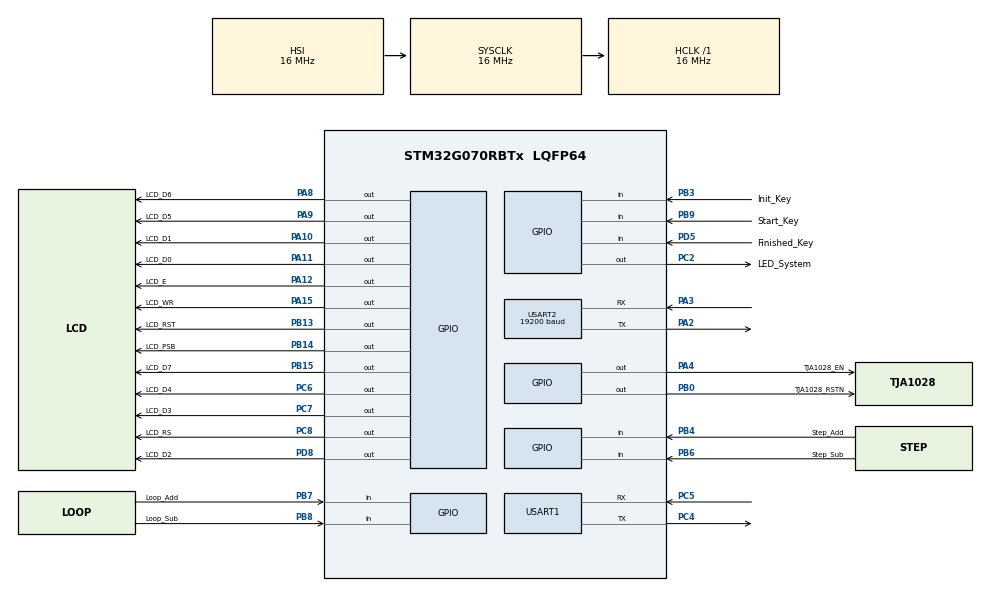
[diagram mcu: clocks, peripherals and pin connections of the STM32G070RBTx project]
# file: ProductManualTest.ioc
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Mcu.Family=STM32G0
Mcu.Name=STM32G070RBTx
Mcu.Package=LQFP64
NVIC.USART2_IRQn=true\:0\:0\:false\:false\:true\:true\:true\:true
PA10.GPIO_Label=LCD_D1
PA10.Signal=GPIO_Output
PA11\ [PA9].GPIO_Label=LCD_D0
PA11\ [PA9].Signal=GPIO_Output
PA12\ [PA10].GPIO_Label=LCD_E
PA12\ [PA10].Signal=GPIO_Output
PA13.Mode=Serial_Wire
PA13.Signal=SYS_SWDIO
PA14-BOOT0.Mode=Serial_Wire
PA14-BOOT0.Signal=SYS_SWCLK
PA15.GPIO_Label=LCD_WR
PA15.Signal=GPIO_Output
PA2.Mode=LIN
PA2.Signal=USART2_TX
PA3.Mode=LIN
PA3.Signal=USART2_RX
PA4.GPIO_Label=TJA1028_EN
PA4.Signal=GPIO_Output
PA8.GPIO_Label=LCD_D6
PA8.Signal=GPIO_Output
PA9.GPIO_Label=LCD_D5
PA9.Signal=GPIO_Output
PB0.GPIO_Label=TJA1028_RSTN
PB0.Signal=GPIO_Output
PB13.GPIO_Label=LCD_RST
PB13.Signal=GPIO_Output
PB14.GPIO_Label=LCD_PSB
PB14.Signal=GPIO_Output
PB15.GPIO_Label=LCD_D7
PB15.Signal=GPIO_Output
PB3.GPIO_Label=Init_Key
PB3.Signal=GPIO_Input
PB4.GPIO_Label=Step_Add
PB4.Signal=GPIO_Input
PB6.GPIO_Label=Step_Sub
PB6.Signal=GPIO_Input
PB7.GPIO_Label=Loop_Add
PB7.Signal=GPIO_Input
PB8.GPIO_Label=Loop_Sub
PB8.Signal=GPIO_Input
PB9.GPIO_Label=Start_Key
PB9.Signal=GPIO_Input
PC2.GPIO_Label=LED_System
PC2.Signal=GPIO_Output
PC4.Mode=Asynchronous
PC4.Signal=USART1_TX
PC5.Mode=Asynchronous
PC5.Signal=USART1_RX
PC6.GPIO_Label=LCD_D4
PC6.Signal=GPIO_Output
PC7.GPIO_Label=LCD_D3
PC7.Signal=GPIO_Output
PC8.GPIO_Label=LCD_RS
PC8.Signal=GPIO_Output
PD5.GPIO_Label=Finished_Key
PD5.Signal=GPIO_Input
PD8.GPIO_Label=LCD_D2
PD8.Signal=GPIO_Output
ProjectManager.HeapSize=0x200
ProjectManager.StackSize=0x400
ProjectManager.TargetToolchain=STM32CubeIDE
RCC.AHBFreq_Value=16000000
RCC.CortexFreq_Value=16000000
RCC.EXTERNAL_CLOCK_VALUE=48000
RCC.HCLKFreq_Value=16000000
RCC.HSE_VALUE=8000000
RCC.HSI_VALUE=16000000
RCC.LSE_VALUE=32768
RCC.SYSCLKFreq_VALUE=16000000
RCC.VCOOutputFreq_Value=128000000
USART1.VirtualMode-Asynchronous=VM_ASYNC
USART2.BaudRate=19200
USART2.VirtualMode-LIN=VM_LIN
VP_SYS_VS_DBSignals.Mode=DisableDeadBatterySignals
board=custom

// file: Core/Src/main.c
/* USER CODE BEGIN Header */
/**
  ******************************************************************************
  * @file           : main.c
  * @brief          : Main program body
  ******************************************************************************
  * @attention
  *
  * Copyright (c) 2023 STMicroelectronics.
  * All rights reserved.
  *
  * This software is licensed under terms that can be found in the LICENSE file
  * in the root directory of this software component.
  * If no LICENSE file comes with this software, it is provided AS-IS.
  *
  ******************************************************************************
  */
/* USER CODE END Header */
#include "main.h"
#include "usart.h"
#include "gpio.h"

/* USER CODE BEGIN Includes */
#include "key.h"
#include "LIN.h"
#include "12864.h"
/* USER CODE END Includes */

/* USER CODE BEGIN PV */
//uint8_t test_step = 0;
//uint16_t test_cycle = 0;
//uint8_t test_current_step = 0;
//uint16_t test_error = 900;
uint8_t RevByte = 0;
uint8_t pRevByte = 0;
uint8_t RxFlag = 0;
uint8_t RxLength = 0;
/* USER CODE END PV */

void SystemClock_Config(void);

int main(void)
{

  /* MCU Configuration--------------------------------------------------------*/

  /* Reset of all peripherals, Initializes the Flash interface and the Systick. */
  HAL_Init();

  /* Configure the system clock */
  SystemClock_Config();

  /* USER CODE BEGIN SysInit */
    //解决断电后重新上电，程序运行异常的问题
    //原因：在程序刚开始时加上一个延时，因为外设上电时间不够，所以加个延时，等待外设上电，再进行初始化
    HAL_Delay(700);
  /* USER CODE END SysInit */

  /* Initialize all configured peripherals */
  MX_GPIO_Init();
  MX_USART2_UART_Init();
  MX_USART1_UART_Init();
  /* USER CODE BEGIN 2 */
  //一定要先清除串口空闲中断，然后在打开串口空闲中断，因为串口初始化完成后会自动将IDLE置位，
  // 导致还没有接受数据就进入到中断里面去了，所以打开IDLE之前，先把它清楚掉
  //清除串口空闲中断
  __HAL_UART_CLEAR_IDLEFLAG(&huart2);
  //打开串口空闲中断
  __HAL_UART_ENABLE_IT(&huart2,UART_IT_IDLE);
  //开启中断接收
  Util_Receive_IT(&huart2);
  //使能系统运行指示灯
  HAL_GPIO_WritePin(LED_System_GPIO_Port,LED_System_Pin,GPIO_PIN_SET);
  //使能TJA1028LIN芯片的EN
  HAL_GPIO_WritePin(TJA1028_EN_GPIO_Port,TJA1028_EN_Pin,GPIO_PIN_SET);
  //使能TJA1028LIN芯片的RSTN
  HAL_GPIO_WritePin(TJA1028_RSTN_GPIO_Port,TJA1028_RSTN_Pin,GPIO_PIN_SET);
  LCDInit();

  //测试
//  currentStepSize = 480;
//  currentCycleCount = 300;
//  Data_To_LIN(currentStepSize,currentCycleCount,0);
  //测试

  /* USER CODE END 2 */

  /* Infinite loop */
  while (1)
  {

    //检测加减按键
    Operation_Key_Scan(Step_Add_GPIO_Port,Step_Add_Pin,1,STEP_DIGITAL);
    Operation_Key_Scan(Step_Sub_GPIO_Port,Step_Sub_Pin,0,STEP_DIGITAL);
    Operation_Key_Scan(Loop_Add_GPIO_Port,Loop_Add_Pin,1,LOOP_DIGITAL);
    Operation_Key_Scan(Loop_Sub_GPIO_Port,Loop_Sub_Pin,0,LOOP_DIGITAL);
    //检测初始化按钮
    if (General_Key_Scan(Init_Key_GPIO_Port,Init_Key_Pin))
    {
        Data_To_LIN(0,0,1);
    }
    //检测开始按钮
    if (General_Key_Scan(Start_Key_GPIO_Port,Start_Key_Pin))
    {
        if (currentCycleCount == 61000)
        {
            InfiniteLoop = 1;
        }
        else
        {
            InfiniteLoop = 0;
        }
        Data_To_LIN(currentStepSize,currentCycleCount,0);
    }
    //检测结束按钮
    if (General_Key_Scan(Finished_Key_GPIO_Port,Finished_Key_Pin))
    {
        Finished_LIN(DISABLE,DISABLE);
    }
    //循环发送数据
    Send_LIN_Data();
    if (RxFlag)
    {
        LIN_Data_Process(RxLength);
        RxFlag = 0;
    }
    chip_Num++;
    if(chip_Num >= 5)
    {
        chip_Num = 0;
    }

    //测试代码-start
//    test_step++;
//    test_cycle++;
//    test_current_step++;
//    DisplayCharacter(FIRST_LINE + 5,test_step,3);
//    DisplayCharacter(SECOND_LINE + 5,test_cycle,5);
//    DisplayCharacter(THIRD_LINE + 5,test_current_step,3);
//    DisplayCharacter(FOURTH_LINE + 5,test_error,3);
    //测试代码-end

  }
}

void SystemClock_Config(void)
{
  RCC_OscInitTypeDef RCC_OscInitStruct = {0};
  RCC_ClkInitTypeDef RCC_ClkInitStruct = {0};

  /** Configure the main internal regulator output voltage
  */
  HAL_PWREx_ControlVoltageScaling(PWR_REGULATOR_VOLTAGE_SCALE1);

  /** Initializes the RCC Oscillators according to the specified parameters
  * in the RCC_OscInitTypeDef structure.
  */
  RCC_OscInitStruct.OscillatorType = RCC_OSCILLATORTYPE_HSI;
  RCC_OscInitStruct.HSIState = RCC_HSI_ON;
  RCC_OscInitStruct.HSIDiv = RCC_HSI_DIV1;
  RCC_OscInitStruct.HSICalibrationValue = RCC_HSICALIBRATION_DEFAULT;
  RCC_OscInitStruct.PLL.PLLState = RCC_PLL_NONE;
  if (HAL_RCC_OscConfig(&RCC_OscInitStruct) != HAL_OK)
  {
    Error_Handler();
  }

  /** Initializes the CPU, AHB and APB buses clocks
  */
  RCC_ClkInitStruct.ClockType = RCC_CLOCKTYPE_HCLK|RCC_CLOCKTYPE_SYSCLK
                              |RCC_CLOCKTYPE_PCLK1;
  RCC_ClkInitStruct.SYSCLKSource = RCC_SYSCLKSOURCE_HSI;
  RCC_ClkInitStruct.AHBCLKDivider = RCC_SYSCLK_DIV1;
  RCC_ClkInitStruct.APB1CLKDivider = RCC_HCLK_DIV1;

  if (HAL_RCC_ClockConfig(&RCC_ClkInitStruct, FLASH_LATENCY_0) != HAL_OK)
  {
    Error_Handler();
  }
}

/* USER CODE BEGIN 4 */
/**
 * 重写接收中断函数
 */
void Util_Receive_IT(UART_HandleTypeDef *huart)
{
    if(huart == &huart2)
    {
        if(HAL_UART_Receive_IT(huart, &RevByte, 1) != HAL_OK)
        {
            Error_Handler();
        }
    }
}

/**
 * 接收完成中断函数，用以在一帧数据接收完成时，对数据进行处理
 *
 * @brief Rx Transfer completed callback.
 * @param huart UART handle.
 * @retval None
 */
void HAL_UART_RxCpltCallback(UART_HandleTypeDef *huart)
{
    //LIN协议
    if(huart == &huart2)
    {
        pLINRxBuff[pRevByte] = RevByte;
        pRevByte++;
    }
    Util_Receive_IT(huart);
}

//串口空闲中断
void UART_IDLECallBack(UART_HandleTypeDef *huart)
{
    if(huart == &huart2)
    {
        if((__HAL_UART_GET_FLAG(huart,UART_FLAG_IDLE) != RESET))
        {
            __HAL_UART_CLEAR_IDLEFLAG(&huart2);//清除标志位
            RxFlag = 1;
            RxLength = pRevByte;
            pRevByte = 0;
        }
    }
}

/**
 * 重写UART错误中断处理程序，重新开启USART中断
 *
 * @brief UART error callback.
 * @param huart UART handle.
 * @retval None
 */
void HAL_UART_ErrorCallback(UART_HandleTypeDef *huart)
{
    /* Prevent unused argument(s) compilation warning */
    //解决串口溢出，导致不断进入串口中断函数，使MCU过载的问题
    if(HAL_UART_GetError(huart) & HAL_UART_ERROR_ORE)
    {
        //清除ORE标志位
        __HAL_UART_FLUSH_DRREGISTER(huart);
        Util_Receive_IT(huart);
        huart->ErrorCode = HAL_UART_ERROR_NONE;
    }
}

/**
 * 不推荐在中断里使用延时函数
 * 在实际应用中发现，在STM32的中断里使用延时函数HAL_Delay(Delay)容易出现问题（与SysTick中断的优先级），故采用while(t--)代替延时函数
 * 12864显示屏的写操作中使用了HAL_Delay(Delay)函数，导致程序卡在延时函数无法跳出来
 * @param t_ms
 */
void ms_Delay(uint16_t t_ms)
{
    uint32_t t = t_ms * 3127;
    while (t--);
}
/* USER CODE END 4 */

void Error_Handler(void)
{
  __disable_irq();
  while (1)
  {
  }
}
